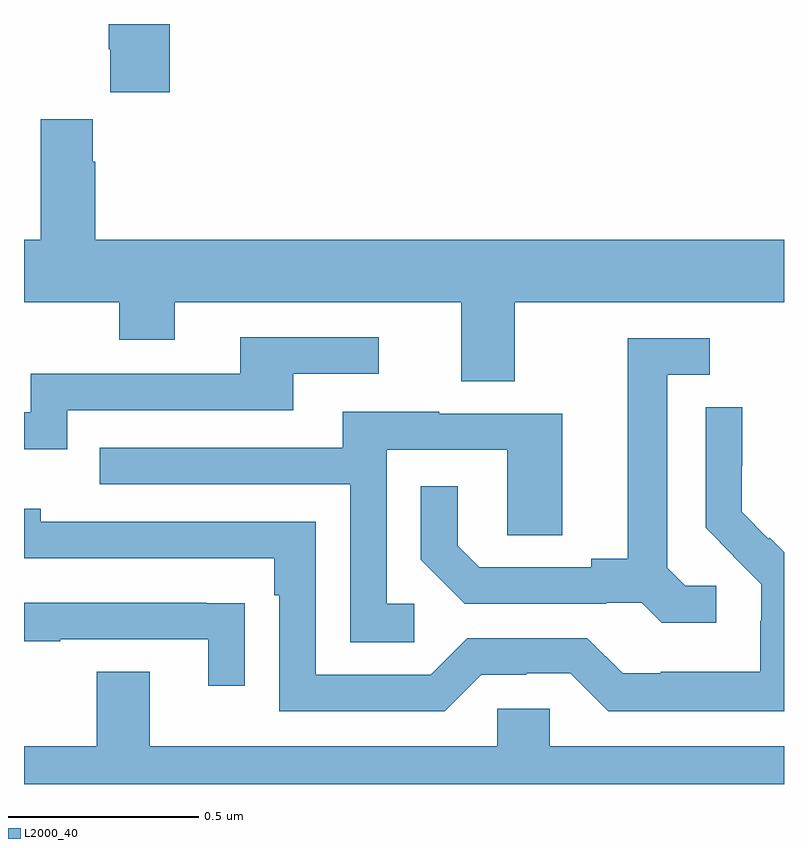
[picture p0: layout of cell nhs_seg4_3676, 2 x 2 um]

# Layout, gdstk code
import gdstk
lib = gdstk.Library(unit=1e-6, precision=1e-09)
def P(c, l, *ps):  # polygons
    for p in ps: c.add(gdstk.Polygon(p, *l))
L2000_40 = (2000, 40)

nhs_seg4_3676 = lib.new_cell('nhs_seg4_3676')
P(nhs_seg4_3676, L2000_40, [(156.383,782.9),(156.223,782.9),(156.223,782.833),(156.227,782.833),(156.227,782.721),(156.383,782.721)],
  [(157.291,782.168),(158,782.168),(158,782.332),(156.188,782.332),(156.188,782.537),(156.181,782.537),(156.181,782.65),(156.044,782.65),(156.044,782.332),(156,782.332),(156,782.168),(156.25,782.168),(156.25,782.069),(156.397,782.069),(156.397,782.168),(157.151,782.168),(157.151,781.96),(157.291,781.96)],
  [(156.114,781.884),(156.709,781.884),(156.709,781.98),(156.934,781.98),(156.934,782.076),(156.569,782.076),(156.569,781.98),(156.018,781.98),(156.018,781.878),(156,781.878),(156,781.781),(156.114,781.781)],
  [(157.822,781.422),(157.74,781.422),(157.693,781.469),(157.693,781.977),(157.804,781.977),(157.804,782.073),(157.589,782.073),(157.589,781.493),(157.493,781.493),(157.493,781.47),(157.198,781.47),(157.141,781.527),(157.141,781.684),(157.044,781.684),(157.044,781.49),(157.16,781.374),(157.532,781.374),(157.532,781.377),(157.626,781.377),(157.678,781.325),(157.822,781.325)],
  [(158,781.51),(157.962,781.548),(157.959,781.545),(157.889,781.616),(157.889,781.738),(157.89,781.738),(157.89,781.892),(157.794,781.892),(157.794,781.574),(157.867,781.501),(157.866,781.5),(157.94,781.426),(157.94,781.329),(157.938,781.329),(157.938,781.195),(157.675,781.195),(157.675,781.191),(157.575,781.191),(157.482,781.284),(157.167,781.284),(157.071,781.188),(156.768,781.188),(156.768,781.59),(156.044,781.59),(156.044,781.624),(156,781.624),(156,781.494),(156.659,781.494),(156.659,781.397),(156.672,781.397),(156.672,781.092),(157.107,781.092),(157.203,781.188),(157.322,781.188),(157.322,781.191),(157.437,781.191),(157.537,781.091),(158,781.091)],
  [(157.027,781.374),(156.954,781.374),(156.954,781.779),(157.272,781.779),(157.272,781.555),(157.417,781.555),(157.417,781.875),(157.093,781.875),(157.093,781.879),(156.839,781.879),(156.839,781.785),(156.199,781.785),(156.199,781.689),(156.858,781.689),(156.858,781.273),(157.027,781.273)],
  [(156.581,781.376),(156.479,781.376),(156.479,781.377),(156,781.377),(156,781.276),(156.095,781.276),(156.095,781.281),(156.485,781.281),(156.485,781.158),(156.581,781.158)],
  [(158,781),(157.383,781),(157.383,781.098),(157.245,781.098),(157.245,781),(156.331,781),(156.331,781.195),(156.191,781.195),(156.191,781),(156,781),(156,780.9),(158,780.9)])

lib.write_gds('nhs_seg4_3676.gds')
